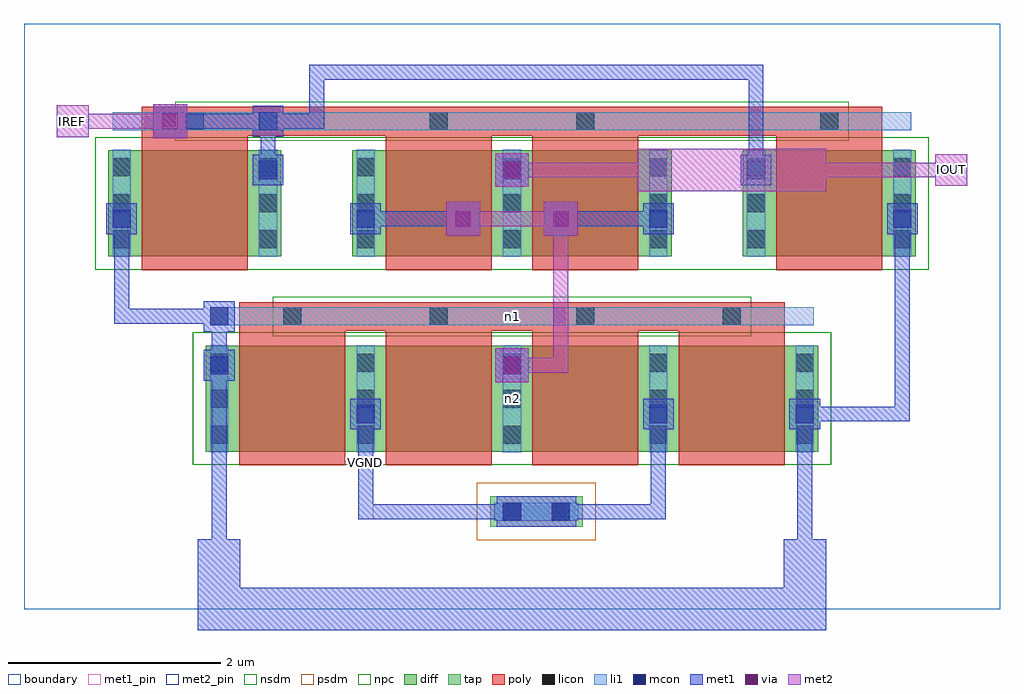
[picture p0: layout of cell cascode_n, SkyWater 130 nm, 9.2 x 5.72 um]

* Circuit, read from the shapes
.subckt cascode_n IOUT IREF VGND n1 n2
XM1 IREF IREF n1 VGND sky130_fd_pr__nfet_01v8 w=1 l=1 m=2
XM2 VGND n1 n1 VGND sky130_fd_pr__nfet_01v8 w=1 l=1 m=2
XM3 n2 n1 VGND VGND sky130_fd_pr__nfet_01v8 w=1 l=1 m=2
XM4 IOUT IREF n2 VGND sky130_fd_pr__nfet_01v8 w=1 l=1 m=2
.ends

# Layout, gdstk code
import gdstk
lib = gdstk.Library(unit=1e-6, precision=1e-09)
def R(c, l, rs):  # rectangles x0, y0, x1, y1
    for r in rs: c.add(gdstk.rectangle(r[:2], r[2:], *l))
def A(c, l, x, y, w, h, nx, ny, dx, dy):  # array of equal rectangles
    R(c, l, [(x+i*dx, y+j*dy, x+i*dx+w, y+j*dy+h) for i in range(nx) for j in range(ny)])
diff = (65, 20)
tap = (65, 44)
poly = (66, 20)
licon = (66, 44)
li1 = (67, 20)
mcon = (67, 44)
met1_pin = (68, 16)
met1 = (68, 20)
via = (68, 44)
met2_pin = (69, 16)
met2 = (69, 20)
nsdm = (93, 44)
psdm = (94, 20)
npc = (95, 20)
boundary = (235, 4)

cascode_n = lib.new_cell('cascode_n')
R(cascode_n, diff, [(1.715,1.485,7.485,2.485), (0.795,3.325,2.425,4.325), (3.095,3.325,6.105,4.325), (6.775,3.325,8.405,4.325)])
R(cascode_n, tap, [(4.395,0.775,5.265,1.065)])
A(cascode_n, poly, 2.03, 1.355, 1, 1.405, 4, 1, 1.38, 0)
R(cascode_n, poly, [(2.03,2.625,7.17,2.895), (1.11,3.195,2.11,4.6), (3.41,3.195,4.41,4.6), (4.79,3.195,5.79,4.6), (7.09,3.195,8.09,4.6), (1.11,4.465,8.09,4.735)])
A(cascode_n, licon, 1.755, 1.56, 0.17, 0.17, 5, 3, 1.38, 0.34)
A(cascode_n, licon, 2.445, 2.675, 0.17, 0.17, 4, 1, 1.38, 0)
A(cascode_n, licon, 0.835, 3.4, 0.17, 0.17, 1, 3, 0, 0.34)
A(cascode_n, licon, 2.215, 3.4, 0.17, 0.17, 1, 3, 0, 0.34)
A(cascode_n, licon, 3.135, 3.4, 0.17, 0.17, 3, 3, 1.38, 0.34)
A(cascode_n, licon, 6.815, 3.4, 0.17, 0.17, 1, 3, 0, 0.34)
A(cascode_n, licon, 8.195, 3.4, 0.17, 0.17, 1, 3, 0, 0.34)
R(cascode_n, licon, [(4.515,0.835,4.685,1.005), (4.975,0.835,5.145,1.005), (1.525,4.515,1.695,4.685), (3.825,4.515,3.995,4.685), (5.205,4.515,5.375,4.685), (7.505,4.515,7.675,4.685)])
A(cascode_n, li1, 1.755, 1.48, 0.17, 1.01, 5, 1, 1.38, 0)
A(cascode_n, li1, 3.135, 3.32, 0.17, 1.01, 3, 1, 1.38, 0)
R(cascode_n, li1, [(4.435,0.835,5.225,1.005), (1.755,2.675,7.445,2.845), (0.835,3.32,1.005,4.33), (2.215,3.32,2.385,4.33), (6.815,3.32,6.985,4.33), (8.195,3.32,8.365,4.33), (0.835,4.515,8.365,4.685)])
A(cascode_n, mcon, 2.215, 4.055, 0.17, 0.17, 3, 1, 2.3, 0)
R(cascode_n, mcon, [(4.515,0.835,4.685,1.005), (4.975,0.835,5.145,1.005), (3.135,1.755,3.305,1.925), (5.895,1.755,6.065,1.925), (7.275,1.755,7.445,1.925), (1.755,2.215,1.925,2.385), (4.515,2.215,4.685,2.385), (1.755,2.675,1.925,2.845), (0.835,3.595,1.005,3.765), (3.135,3.595,3.305,3.765), (5.895,3.595,6.065,3.765), (8.195,3.595,8.365,3.765), (2.215,4.515,2.385,4.685)])
R(cascode_n, met1_pin, [(3.15,0.85,3.29,1.91)])
A(cascode_n, met1, 2.155, 3.995, 0.29, 0.29, 3, 1, 2.3, 0)
R(cascode_n, met1, [(1.64,-0.2,2.04,0.66), (1.64,-0.2,7.56,0.2), (7.16,-0.2,7.56,0.66), (1.77,0.39,1.91,2.37), (7.29,0.39,7.43,1.91), (4.455,0.775,5.205,1.065), (3.15,0.85,3.29,1.91), (3.15,0.85,4.67,0.99), (4.53,0.85,4.67,0.99), (4.53,0.85,6.05,0.99), (5.91,0.85,6.05,1.91), (3.075,1.695,3.365,1.985), (5.835,1.695,6.125,1.985), (7.215,1.695,7.505,1.985), (7.29,1.77,8.35,1.91), (8.21,1.77,8.35,3.75), (4.44,2.14,4.76,2.46), (1.695,2.155,1.985,2.445), (4.455,2.155,4.745,2.445), (1.77,2.23,1.91,2.83), (1.695,2.615,1.985,2.905), (0.85,2.69,0.99,3.75), (0.85,2.69,1.91,2.83), (3.98,3.52,4.3,3.84), (4.9,3.52,5.22,3.84), (0.775,3.535,1.065,3.825), (3.075,3.535,3.365,3.825), (5.835,3.535,6.125,3.825), (8.135,3.535,8.425,3.825), (3.15,3.61,4.21,3.75), (4.99,3.61,6.05,3.75), (4.44,3.98,4.76,4.3), (2.23,4.07,2.37,4.67), (6.83,4.07,6.97,5.13), (1.22,4.44,1.54,4.76), (2.155,4.455,2.445,4.745), (1.31,4.53,2.37,4.67), (2.23,4.53,2.83,4.67), (2.69,4.53,2.83,5.13), (2.69,4.99,6.97,5.13)])
R(cascode_n, via, [(4.525,2.225,4.675,2.375), (4.065,3.605,4.215,3.755), (4.985,3.605,5.135,3.755), (4.525,4.065,4.675,4.215), (1.305,4.525,1.455,4.675)])
R(cascode_n, met2_pin, [(8.59,3.99,8.89,4.29), (0.31,4.45,0.61,4.75)])
R(cascode_n, met2, [(4.44,2.14,4.76,2.46), (4.53,2.23,5.13,2.37), (4.99,2.23,5.13,3.75), (3.98,3.52,4.3,3.84), (4.9,3.52,5.22,3.84), (4.07,3.61,5.13,3.75), (5.78,3.94,7.56,4.34), (4.44,3.98,4.76,4.3), (8.59,3.99,8.89,4.29), (4.53,4.07,6.05,4.21), (7.29,4.07,8.81,4.21), (8.67,4.07,8.81,4.21), (1.22,4.44,1.54,4.76), (0.31,4.45,0.61,4.75), (0.39,4.53,1.45,4.67), (0.39,4.53,0.53,4.67)])
R(cascode_n, nsdm, [(1.59,1.36,7.61,2.61), (0.67,3.2,8.53,4.45)])
R(cascode_n, psdm, [(4.27,0.65,5.39,1.19)])
R(cascode_n, npc, [(2.345,2.575,6.855,2.945), (1.425,4.415,7.775,4.785)])
R(cascode_n, boundary, [(0,0,9.2,5.52)])
cascode_n.add(gdstk.Label('n1', (4.6,2.76), layer=67, texttype=5))
cascode_n.add(gdstk.Label('n2', (4.6,1.985), layer=67, texttype=5))
cascode_n.add(gdstk.Label('VGND', (3.22,1.38), layer=68, texttype=5))
cascode_n.add(gdstk.Label('IREF', (0.46,4.6), layer=69, texttype=5))
cascode_n.add(gdstk.Label('IOUT', (8.74,4.14), layer=69, texttype=5))
cascode_n.add(gdstk.Label('VGND', (3.22,1.38), layer=68, texttype=16))
cascode_n.add(gdstk.Label('IREF', (0.46,4.6), layer=69, texttype=16))
cascode_n.add(gdstk.Label('IOUT', (8.74,4.14), layer=69, texttype=16))

lib.write_gds('cascode_n.gds')
